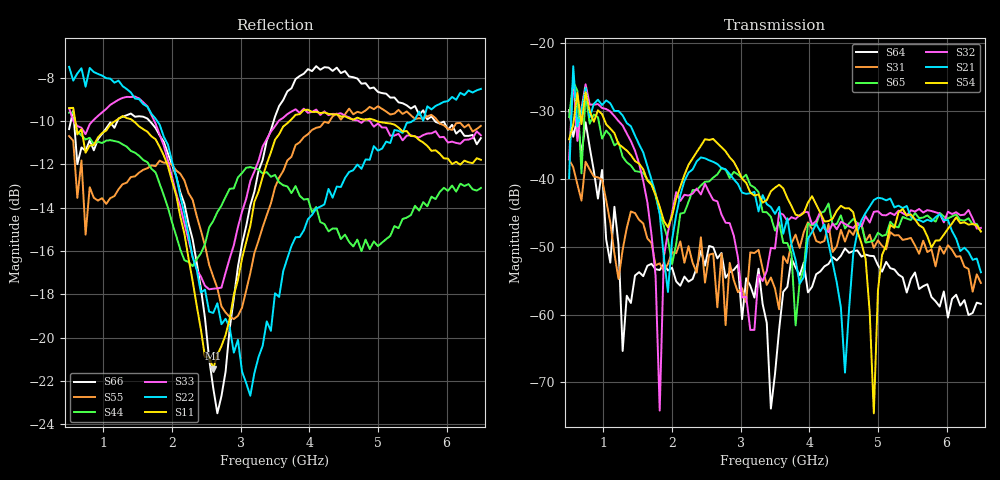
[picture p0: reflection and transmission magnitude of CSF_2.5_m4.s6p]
!Keysight Technologies,M9804A,MY58100912,A.14.10.03
!Date: Thursday, April 27, 2023 10:28:33
!Correction: S11(C  6-Port  )
!S12(C  6-Port  )
!S13(C  6-Port  )
!S14(C  6-Port  )
!S15(C  6-Port  )
!S16(C  6-Port  )
!S21(C  6-Port  )
!S22(C  6-Port  )
!S23(C  6-Port  )
!S24(C  6-Port  )
!S25(C  6-Port  )
!S26(C  6-Port  )
!S31(C  6-Port  )
!S32(C  6-Port  )
!S33(C  6-Port  )
!S34(C  6-Port  )
!S35(C  6-Port  )
!S36(C  6-Port  )
!S41(C  6-Port  )
!S42(C  6-Port  )
!S43(C  6-Port  )
!S44(C  6-Port  )
!S45(C  6-Port  )
!S46(C  6-Port  )
!S51(C  6-Port  )
!S52(C  6-Port  )
!S53(C  6-Port  )
!S54(C  6-Port  )
!S55(C  6-Port  )
!S56(C  6-Port  )
!S61(C  6-Port  )
!S62(C  6-Port  )
!S63(C  6-Port  )
!S64(C  6-Port  )
!S65(C  6-Port  )
!S66(C  6-Port  )
!S6P File: Measurement: :
# Hz S  RI  R 50
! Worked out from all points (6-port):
!   101 points, 500 MHz to 6.5 GHz, reference 50 ohm
!   strongest paths, dB at 500 MHz, 2 GHz, 3.5 GHz, 5 GHz, 6.5 GHz:
!     S54: -34.2, -45.5, -41.3, -56.5, -47.8
!     S21: -39.9, -49.0, -45.2, -42.8, -53.8
!     S32: -37.1, -45.0, -50.3, -44.8, -47.2
!     S65: -30.9, -52.6, -47.6, -48.0, -47.8
!     S31: -37.2, -50.8, -56.2, -49.1, -55.3
!     S64: -29.9, -53.1, -68.8, -52.7, -58.4
!   lowest |S11| = -21.4 dB at 2.6 GHz (marker M1), VSWR 1.19, Z = 42.5 + j2.2 ohm
!   |S11| at or under -10 dB: 589.7 MHz to 1.172 GHz (582.2 MHz wide, 66.1 % of centre); 1.435 GHz to 3.714 GHz (2.279 GHz wide, 88.5 % of centre); 4.979 GHz to end of sweep
